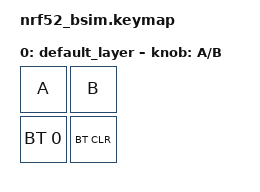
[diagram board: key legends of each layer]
#include <behaviors.dtsi>
#include <dt-bindings/zmk/bt.h>
#include <dt-bindings/zmk/keys.h>

#include "shared.dtsi"

&kscan {
    /delete-property/ exit-after;
    events = <>;
};

&split_listener {
    status = "okay";
};
/ {
    keymap {
        compatible = "zmk,keymap";

        default_layer {
            bindings = <
            &kp A &kp B
            &bt BT_SEL 0 &bt BT_CLR>;

            sensor-bindings = <&inc_dec_kp A B>;
        };
    };
};
